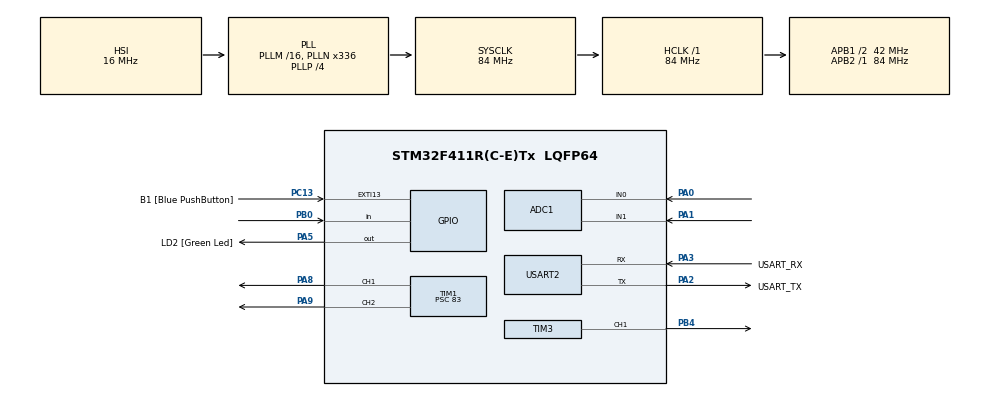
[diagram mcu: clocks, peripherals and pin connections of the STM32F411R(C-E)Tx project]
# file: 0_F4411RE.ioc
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ADC1.Channel-0\#ChannelRegularConversion=ADC_CHANNEL_0
ADC1.Channel-2\#ChannelRegularConversion=ADC_CHANNEL_1
ADC1.ContinuousConvMode=DISABLE
ADC1.DMAContinuousRequests=DISABLE
ADC1.DiscontinuousConvMode=ENABLE
ADC1.NbrOfConversion=2
ADC1.NbrOfConversionFlag=1
ADC1.Rank-0\#ChannelRegularConversion=1
ADC1.Rank-2\#ChannelRegularConversion=2
ADC1.SamplingTime-0\#ChannelRegularConversion=ADC_SAMPLETIME_480CYCLES
ADC1.SamplingTime-2\#ChannelRegularConversion=ADC_SAMPLETIME_480CYCLES
ADC1.ScanConvMode=ENABLE
ADC1.master=1
Dma.ADC1.0.Direction=DMA_PERIPH_TO_MEMORY
Dma.ADC1.0.FIFOMode=DMA_FIFOMODE_DISABLE
Dma.ADC1.0.Instance=DMA2_Stream0
Dma.ADC1.0.MemDataAlignment=DMA_MDATAALIGN_HALFWORD
Dma.ADC1.0.MemInc=DMA_MINC_ENABLE
Dma.ADC1.0.Mode=DMA_CIRCULAR
Dma.ADC1.0.PeriphDataAlignment=DMA_PDATAALIGN_HALFWORD
Dma.ADC1.0.PeriphInc=DMA_PINC_DISABLE
Dma.ADC1.0.Priority=DMA_PRIORITY_LOW
Dma.Request0=ADC1
Mcu.Family=STM32F4
Mcu.Name=STM32F411R(C-E)Tx
Mcu.Package=LQFP64
NVIC.DMA2_Stream0_IRQn=true\:0\:0\:false\:false\:true\:false\:true\:true
NVIC.EXTI15_10_IRQn=true\:0\:0\:false\:true\:true\:2\:true\:true\:true
NVIC.PriorityGroup=NVIC_PRIORITYGROUP_0
NVIC.USART2_IRQn=true\:0\:0\:false\:true\:true\:1\:true\:true\:true
PA0-WKUP.Signal=ADCx_IN0
PA1.Signal=ADCx_IN1
PA13.GPIO_Label=TMS
PA13.Mode=Serial_Wire
PA13.Signal=SYS_JTMS-SWDIO
PA14.GPIO_Label=TCK
PA14.Mode=Serial_Wire
PA14.Signal=SYS_JTCK-SWCLK
PA2.GPIO_Label=USART_TX
PA2.Mode=Asynchronous
PA2.Signal=USART2_TX
PA3.GPIO_Label=USART_RX
PA3.Mode=Asynchronous
PA3.Signal=USART2_RX
PA4.Signal=ADCx_IN4
PA5.GPIO_Label=LD2 [Green Led]
PA5.Signal=GPIO_Output
PA8.Signal=S_TIM1_CH1
PA9.Signal=S_TIM1_CH2
PB0.Signal=GPIO_Input
PB3.GPIO_Label=SWO
PB3.Signal=SYS_JTDO-SWO
PB4.Signal=S_TIM3_CH1
PC13-ANTI_TAMP.GPIO_Label=B1 [Blue PushButton]
PC13-ANTI_TAMP.GPIO_ModeDefaultEXTI=GPIO_MODE_IT_FALLING
PC13-ANTI_TAMP.Signal=GPXTI13
PC14-OSC32_IN.Mode=LSE-External-Oscillator
PC14-OSC32_IN.Signal=RCC_OSC32_IN
PC15-OSC32_OUT.Mode=LSE-External-Oscillator
PC15-OSC32_OUT.Signal=RCC_OSC32_OUT
PH0\ -\ OSC_IN.Mode=HSE-External-Clock-Source
PH0\ -\ OSC_IN.Signal=RCC_OSC_IN
PH1\ -\ OSC_OUT.Mode=HSE-External-Clock-Source
PH1\ -\ OSC_OUT.Signal=RCC_OSC_OUT
ProjectManager.HeapSize=0x200
ProjectManager.StackSize=0x400
ProjectManager.TargetToolchain=STM32CubeIDE
RCC.48MHZClocksFreq_Value=84000000
RCC.AHBFreq_Value=84000000
RCC.APB1CLKDivider=RCC_HCLK_DIV2
RCC.APB1Freq_Value=42000000
RCC.APB1TimFreq_Value=84000000
RCC.APB2Freq_Value=84000000
RCC.APB2TimFreq_Value=84000000
RCC.CortexFreq_Value=84000000
RCC.FLatency-AdvancedSettings=FLASH_LATENCY_2
RCC.HCLKFreq_Value=84000000
RCC.HSE_VALUE=8000000
RCC.HSI_VALUE=16000000
RCC.PLLN=336
RCC.PLLP=RCC_PLLP_DIV4
RCC.SYSCLKFreq_VALUE=84000000
RCC.SYSCLKSource=RCC_SYSCLKSOURCE_PLLCLK
RCC.VCOOutputFreq_Value=336000000
SH.ADCx_IN0.0=ADC1_IN0,IN0
SH.ADCx_IN1.0=ADC1_IN1,IN1
SH.ADCx_IN4.0=ADC1_IN4
SH.S_TIM1_CH1.0=TIM1_CH1,PWM Generation1 CH1
SH.S_TIM1_CH2.0=TIM1_CH2,PWM Generation2 CH2
SH.S_TIM3_CH1.0=TIM3_CH1,PWM Generation1 CH1
TIM1.Channel-PWM\ Generation1\ CH1=TIM_CHANNEL_1
TIM1.Channel-PWM\ Generation2\ CH2=TIM_CHANNEL_2
TIM1.Period=4095
TIM1.Prescaler=83
TIM1.Pulse-PWM\ Generation1\ CH1=2047
TIM1.Pulse-PWM\ Generation2\ CH2=2047
TIM3.Channel-PWM\ Generation1\ CH1=TIM_CHANNEL_1
TIM3.Period=4095
TIM3.Prescaler=83
TIM3.Pulse-PWM\ Generation1\ CH1=2047
USART2.VirtualMode=VM_ASYNC
board=NUCLEO-F411RE

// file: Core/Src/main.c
/* USER CODE BEGIN Header */
/**
  ******************************************************************************
  * @file           : main.c
  * @brief          : Main program body
  ******************************************************************************
  * @attention
  *
  * Copyright (c) 2025 STMicroelectronics.
  * All rights reserved.
  *
  * This software is licensed under terms that can be found in the LICENSE file
  * in the root directory of this software component.
  * If no LICENSE file comes with this software, it is provided AS-IS.
  *
  ******************************************************************************
  */
/* USER CODE END Header */
#include "main.h"

ADC_HandleTypeDef hadc1;
DMA_HandleTypeDef hdma_adc1;

TIM_HandleTypeDef htim1;
TIM_HandleTypeDef htim3;

UART_HandleTypeDef huart2;

void SystemClock_Config(void);
static void MX_GPIO_Init(void);
static void MX_DMA_Init(void);
static void MX_USART2_UART_Init(void);
static void MX_ADC1_Init(void);
static void MX_TIM1_Init(void);
static void MX_TIM3_Init(void);
static void MX_NVIC_Init(void);

/* USER CODE BEGIN 0 */
uint16_t g_joy_x = 0, g_joy_y = 0;
uint16_t g_joy_x_c = 0, g_joy_y_c = 0;
uint16_t adcVal[3];

uint8_t uart2_rx_data;

void HAL_GPIO_EXTI_Callback(uint16_t GPIO_Pin){
	if(GPIO_Pin == GPIO_PIN_13){
		HAL_GPIO_TogglePin(GPIOA, GPIO_PIN_5);
	}
}

void HAL_UART_RxCpltCallback(UART_HandleTypeDef *huart){
	if(huart->Instance == USART2){
		HAL_UART_Transmit(&huart2, &uart2_rx_data, 1, HAL_MAX_DELAY);
		HAL_UART_Receive_IT(&huart2, &uart2_rx_data, 1);
	}
}
/* USER CODE END 0 */

int main(void)
{

  /* MCU Configuration--------------------------------------------------------*/

  /* Reset of all peripherals, Initializes the Flash interface and the Systick. */
  HAL_Init();

  /* Configure the system clock */
  SystemClock_Config();

  /* Initialize all configured peripherals */
  MX_GPIO_Init();
  MX_DMA_Init();
  MX_USART2_UART_Init();
  MX_ADC1_Init();
  MX_TIM1_Init();
  MX_TIM3_Init();

  /* Initialize interrupts */
  MX_NVIC_Init();
  /* USER CODE BEGIN 2 */

  HAL_UART_Receive_IT(&huart2, &uart2_rx_data, 1);

  HAL_TIM_PWM_Start(&htim1, TIM_CHANNEL_2);
  HAL_TIM_PWM_Start(&htim1, TIM_CHANNEL_1);
  HAL_TIM_PWM_Start(&htim3, TIM_CHANNEL_1);
  /* USER CODE END 2 */

  /* Infinite loop */
  /* USER CODE BEGIN WHILE */
  while (1)
  {
	  HAL_ADC_Start(&hadc1);
	  HAL_ADC_PollForConversion(&hadc1, 100);
	  g_joy_x = HAL_ADC_GetValue(&hadc1);

	  HAL_ADC_Start(&hadc1);
	  HAL_ADC_PollForConversion(&hadc1, 100);
	  g_joy_y = HAL_ADC_GetValue(&hadc1);

	  if(g_joy_x < 2000){
		  TIM1->CCR1 = 4095 - g_joy_x;
		  TIM1->CCR2 = 0;
	  }else if(g_joy_x > 2800){
		  TIM1->CCR1 = 0;
		  TIM1->CCR2 = g_joy_x;
	  }else{
		  TIM1->CCR2 = 0;
		  TIM1->CCR1 = 0;
	  }

	  if(g_joy_y < 2000){
		  TIM3->CCR1 = 4095 - g_joy_y;
	  }else if(g_joy_y >2800){
		  TIM3->CCR1 = 0;
	  }else{
		  TIM3->CCR1 = 0;
	  }
    /* USER CODE END WHILE */

  }
}

void SystemClock_Config(void)
{
  RCC_OscInitTypeDef RCC_OscInitStruct = {0};
  RCC_ClkInitTypeDef RCC_ClkInitStruct = {0};

  /** Configure the main internal regulator output voltage
  */
  __HAL_RCC_PWR_CLK_ENABLE();
  __HAL_PWR_VOLTAGESCALING_CONFIG(PWR_REGULATOR_VOLTAGE_SCALE1);

  /** Initializes the RCC Oscillators according to the specified parameters
  * in the RCC_OscInitTypeDef structure.
  */
  RCC_OscInitStruct.OscillatorType = RCC_OSCILLATORTYPE_HSI;
  RCC_OscInitStruct.HSIState = RCC_HSI_ON;
  RCC_OscInitStruct.HSICalibrationValue = RCC_HSICALIBRATION_DEFAULT;
  RCC_OscInitStruct.PLL.PLLState = RCC_PLL_ON;
  RCC_OscInitStruct.PLL.PLLSource = RCC_PLLSOURCE_HSI;
  RCC_OscInitStruct.PLL.PLLM = 16;
  RCC_OscInitStruct.PLL.PLLN = 336;
  RCC_OscInitStruct.PLL.PLLP = RCC_PLLP_DIV4;
  RCC_OscInitStruct.PLL.PLLQ = 4;
  if (HAL_RCC_OscConfig(&RCC_OscInitStruct) != HAL_OK)
  {
    Error_Handler();
  }

  /** Initializes the CPU, AHB and APB buses clocks
  */
  RCC_ClkInitStruct.ClockType = RCC_CLOCKTYPE_HCLK|RCC_CLOCKTYPE_SYSCLK
                              |RCC_CLOCKTYPE_PCLK1|RCC_CLOCKTYPE_PCLK2;
  RCC_ClkInitStruct.SYSCLKSource = RCC_SYSCLKSOURCE_PLLCLK;
  RCC_ClkInitStruct.AHBCLKDivider = RCC_SYSCLK_DIV1;
  RCC_ClkInitStruct.APB1CLKDivider = RCC_HCLK_DIV2;
  RCC_ClkInitStruct.APB2CLKDivider = RCC_HCLK_DIV1;

  if (HAL_RCC_ClockConfig(&RCC_ClkInitStruct, FLASH_LATENCY_2) != HAL_OK)
  {
    Error_Handler();
  }
}

/**
  * @brief NVIC Configuration.
  * @retval None
  */
static void MX_NVIC_Init(void)
{
  /* USART2_IRQn interrupt configuration */
  HAL_NVIC_SetPriority(USART2_IRQn, 0, 0);
  HAL_NVIC_EnableIRQ(USART2_IRQn);
  /* EXTI15_10_IRQn interrupt configuration */
  HAL_NVIC_SetPriority(EXTI15_10_IRQn, 0, 0);
  HAL_NVIC_EnableIRQ(EXTI15_10_IRQn);
}

static void MX_ADC1_Init(void)
{

  ADC_ChannelConfTypeDef sConfig = {0};

  /** Configure the global features of the ADC (Clock, Resolution, Data Alignment and number of conversion)
  */
  hadc1.Instance = ADC1;
  hadc1.Init.ClockPrescaler = ADC_CLOCK_SYNC_PCLK_DIV4;
  hadc1.Init.Resolution = ADC_RESOLUTION_12B;
  hadc1.Init.ScanConvMode = ENABLE;
  hadc1.Init.ContinuousConvMode = DISABLE;
  hadc1.Init.DiscontinuousConvMode = ENABLE;
  hadc1.Init.NbrOfDiscConversion = 1;
  hadc1.Init.ExternalTrigConvEdge = ADC_EXTERNALTRIGCONVEDGE_NONE;
  hadc1.Init.ExternalTrigConv = ADC_SOFTWARE_START;
  hadc1.Init.DataAlign = ADC_DATAALIGN_RIGHT;
  hadc1.Init.NbrOfConversion = 2;
  hadc1.Init.DMAContinuousRequests = DISABLE;
  hadc1.Init.EOCSelection = ADC_EOC_SINGLE_CONV;
  if (HAL_ADC_Init(&hadc1) != HAL_OK)
  {
    Error_Handler();
  }

  /** Configure for the selected ADC regular channel its corresponding rank in the sequencer and its sample time.
  */
  sConfig.Channel = ADC_CHANNEL_0;
  sConfig.Rank = 1;
  sConfig.SamplingTime = ADC_SAMPLETIME_480CYCLES;
  if (HAL_ADC_ConfigChannel(&hadc1, &sConfig) != HAL_OK)
  {
    Error_Handler();
  }

  /** Configure for the selected ADC regular channel its corresponding rank in the sequencer and its sample time.
  */
  sConfig.Channel = ADC_CHANNEL_1;
  sConfig.Rank = 2;
  if (HAL_ADC_ConfigChannel(&hadc1, &sConfig) != HAL_OK)
  {
    Error_Handler();
  }

}

static void MX_TIM1_Init(void)
{

  TIM_MasterConfigTypeDef sMasterConfig = {0};
  TIM_OC_InitTypeDef sConfigOC = {0};
  TIM_BreakDeadTimeConfigTypeDef sBreakDeadTimeConfig = {0};

  htim1.Instance = TIM1;
  htim1.Init.Prescaler = 83;
  htim1.Init.CounterMode = TIM_COUNTERMODE_UP;
  htim1.Init.Period = 4095;
  htim1.Init.ClockDivision = TIM_CLOCKDIVISION_DIV1;
  htim1.Init.RepetitionCounter = 0;
  htim1.Init.AutoReloadPreload = TIM_AUTORELOAD_PRELOAD_DISABLE;
  if (HAL_TIM_PWM_Init(&htim1) != HAL_OK)
  {
    Error_Handler();
  }
  sMasterConfig.MasterOutputTrigger = TIM_TRGO_RESET;
  sMasterConfig.MasterSlaveMode = TIM_MASTERSLAVEMODE_DISABLE;
  if (HAL_TIMEx_MasterConfigSynchronization(&htim1, &sMasterConfig) != HAL_OK)
  {
    Error_Handler();
  }
  sConfigOC.OCMode = TIM_OCMODE_PWM1;
  sConfigOC.Pulse = 2047;
  sConfigOC.OCPolarity = TIM_OCPOLARITY_HIGH;
  sConfigOC.OCNPolarity = TIM_OCNPOLARITY_HIGH;
  sConfigOC.OCFastMode = TIM_OCFAST_DISABLE;
  sConfigOC.OCIdleState = TIM_OCIDLESTATE_RESET;
  sConfigOC.OCNIdleState = TIM_OCNIDLESTATE_RESET;
  if (HAL_TIM_PWM_ConfigChannel(&htim1, &sConfigOC, TIM_CHANNEL_1) != HAL_OK)
  {
    Error_Handler();
  }
  if (HAL_TIM_PWM_ConfigChannel(&htim1, &sConfigOC, TIM_CHANNEL_2) != HAL_OK)
  {
    Error_Handler();
  }
  sBreakDeadTimeConfig.OffStateRunMode = TIM_OSSR_DISABLE;
  sBreakDeadTimeConfig.OffStateIDLEMode = TIM_OSSI_DISABLE;
  sBreakDeadTimeConfig.LockLevel = TIM_LOCKLEVEL_OFF;
  sBreakDeadTimeConfig.DeadTime = 0;
  sBreakDeadTimeConfig.BreakState = TIM_BREAK_DISABLE;
  sBreakDeadTimeConfig.BreakPolarity = TIM_BREAKPOLARITY_HIGH;
  sBreakDeadTimeConfig.AutomaticOutput = TIM_AUTOMATICOUTPUT_DISABLE;
  if (HAL_TIMEx_ConfigBreakDeadTime(&htim1, &sBreakDeadTimeConfig) != HAL_OK)
  {
    Error_Handler();
  }
  HAL_TIM_MspPostInit(&htim1);

}

static void MX_TIM3_Init(void)
{

  TIM_MasterConfigTypeDef sMasterConfig = {0};
  TIM_OC_InitTypeDef sConfigOC = {0};

  htim3.Instance = TIM3;
  htim3.Init.Prescaler = 83;
  htim3.Init.CounterMode = TIM_COUNTERMODE_UP;
  htim3.Init.Period = 4095;
  htim3.Init.ClockDivision = TIM_CLOCKDIVISION_DIV1;
  htim3.Init.AutoReloadPreload = TIM_AUTORELOAD_PRELOAD_DISABLE;
  if (HAL_TIM_PWM_Init(&htim3) != HAL_OK)
  {
    Error_Handler();
  }
  sMasterConfig.MasterOutputTrigger = TIM_TRGO_RESET;
  sMasterConfig.MasterSlaveMode = TIM_MASTERSLAVEMODE_DISABLE;
  if (HAL_TIMEx_MasterConfigSynchronization(&htim3, &sMasterConfig) != HAL_OK)
  {
    Error_Handler();
  }
  sConfigOC.OCMode = TIM_OCMODE_PWM1;
  sConfigOC.Pulse = 2047;
  sConfigOC.OCPolarity = TIM_OCPOLARITY_HIGH;
  sConfigOC.OCFastMode = TIM_OCFAST_DISABLE;
  if (HAL_TIM_PWM_ConfigChannel(&htim3, &sConfigOC, TIM_CHANNEL_1) != HAL_OK)
  {
    Error_Handler();
  }
  HAL_TIM_MspPostInit(&htim3);

}

static void MX_USART2_UART_Init(void)
{

  huart2.Instance = USART2;
  huart2.Init.BaudRate = 115200;
  huart2.Init.WordLength = UART_WORDLENGTH_8B;
  huart2.Init.StopBits = UART_STOPBITS_1;
  huart2.Init.Parity = UART_PARITY_NONE;
  huart2.Init.Mode = UART_MODE_TX_RX;
  huart2.Init.HwFlowCtl = UART_HWCONTROL_NONE;
  huart2.Init.OverSampling = UART_OVERSAMPLING_16;
  if (HAL_UART_Init(&huart2) != HAL_OK)
  {
    Error_Handler();
  }

}

static void MX_DMA_Init(void)
{

  /* DMA controller clock enable */
  __HAL_RCC_DMA2_CLK_ENABLE();

  /* DMA interrupt init */
  /* DMA2_Stream0_IRQn interrupt configuration */
  HAL_NVIC_SetPriority(DMA2_Stream0_IRQn, 0, 0);
  HAL_NVIC_EnableIRQ(DMA2_Stream0_IRQn);

}

static void MX_GPIO_Init(void)
{
  GPIO_InitTypeDef GPIO_InitStruct = {0};

  /* GPIO Ports Clock Enable */
  __HAL_RCC_GPIOC_CLK_ENABLE();
  __HAL_RCC_GPIOH_CLK_ENABLE();
  __HAL_RCC_GPIOA_CLK_ENABLE();
  __HAL_RCC_GPIOB_CLK_ENABLE();

  /*Configure GPIO pin Output Level */
  HAL_GPIO_WritePin(LD2_GPIO_Port, LD2_Pin, GPIO_PIN_RESET);

  /*Configure GPIO pin : B1_Pin */
  GPIO_InitStruct.Pin = B1_Pin;
  GPIO_InitStruct.Mode = GPIO_MODE_IT_FALLING;
  GPIO_InitStruct.Pull = GPIO_NOPULL;
  HAL_GPIO_Init(B1_GPIO_Port, &GPIO_InitStruct);

  /*Configure GPIO pin : LD2_Pin */
  GPIO_InitStruct.Pin = LD2_Pin;
  GPIO_InitStruct.Mode = GPIO_MODE_OUTPUT_PP;
  GPIO_InitStruct.Pull = GPIO_NOPULL;
  GPIO_InitStruct.Speed = GPIO_SPEED_FREQ_LOW;
  HAL_GPIO_Init(LD2_GPIO_Port, &GPIO_InitStruct);

  /*Configure GPIO pin : PB0 */
  GPIO_InitStruct.Pin = GPIO_PIN_0;
  GPIO_InitStruct.Mode = GPIO_MODE_INPUT;
  GPIO_InitStruct.Pull = GPIO_NOPULL;
  HAL_GPIO_Init(GPIOB, &GPIO_InitStruct);

}

void Error_Handler(void)
{
  __disable_irq();
  while (1)
  {
  }
}
